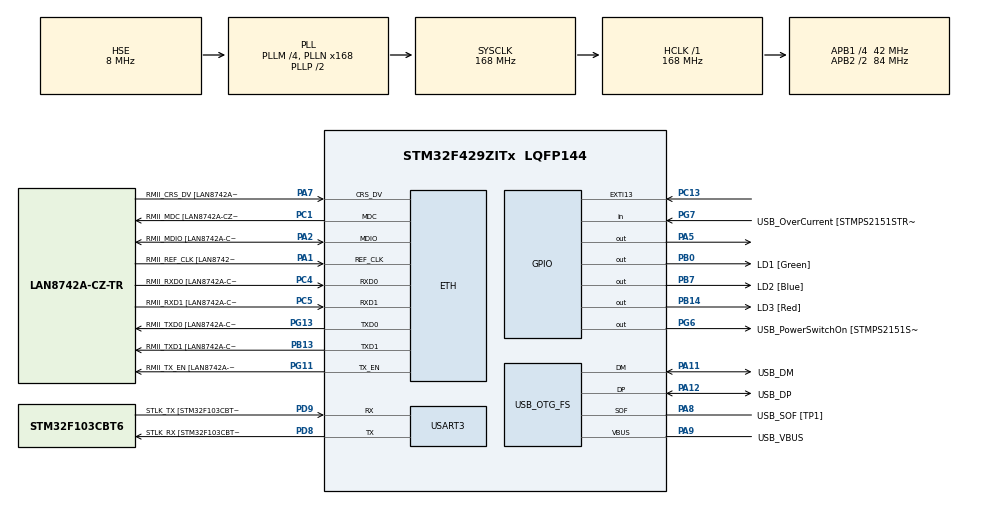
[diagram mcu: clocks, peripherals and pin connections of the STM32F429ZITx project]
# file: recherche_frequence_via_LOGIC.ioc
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Mcu.Family=STM32F4
RCC.CortexFreq_Value=168000000
PG6.Signal=GPIO_Output
PB14.GPIO_Label=LD3 [Red]
PG6.GPIO_Label=USB_PowerSwitchOn [STMPS2151STR_EN]
PA14.GPIO_Label=TCK
RCC.SYSCLKSourceVirtual=RCC_SYSCLKSOURCE_PLLCLK
PA11.Mode=Device_Only
PB0.GPIO_Label=LD1 [Green]
PC14/OSC32_IN.Mode=LSE-External-Oscillator
PC5.Mode=RMII
PB13.GPIO_Label=RMII_TXD1 [LAN8742A-CZ-TR_TXD1]
PB13.Signal=ETH_TXD1
PG13.Signal=ETH_TXD0
PD9.Mode=Asynchronous
PG11.Signal=ETH_TX_EN
RCC.SYSCLKSource=RCC_SYSCLKSOURCE_PLLCLK
ProjectManager.StackSize=0x400
VP_FREERTOS_VS_CMSIS_V2.Mode=CMSIS_V2
PA12.Signal=USB_OTG_FS_DP
ETH.PHY_Value=0
PH0/OSC_IN.Mode=HSE-External-Clock-Source
RCC.HCLKFreq_Value=168000000
RCC.APB2TimFreq_Value=168000000
PH1/OSC_OUT.Signal=RCC_OSC_OUT
PD8.Signal=USART3_TX
RCC.AHBFreq_Value=168000000
NVIC.EXTI15_10_IRQn=true\:5\:0\:false\:false\:true\:true\:true\:true
RCC.HSE_VALUE=8000000
RCC.PLLMUL=RCC_PLL_MUL9
PC4.GPIO_Label=RMII_RXD0 [LAN8742A-CZ-TR_RXD0]
PA14.Mode=Serial_Wire
VP_SYS_VS_tim1.Mode=TIM1
PA10.GPIO_Label=USB_ID
PB7.Signal=GPIO_Output
PA8.Signal=USB_OTG_FS_SOF
PG13.Mode=RMII
ETH.PHY_Name=LAN8742A_PHY_ADDRESS
PH1/OSC_OUT.Mode=HSE-External-Clock-Source
PB7.GPIO_Label=LD2 [Blue]
Mcu.Package=LQFP144
NVIC.TimeBase=TIM1_UP_TIM10_IRQn
PC14/OSC32_IN.Signal=RCC_OSC32_IN
PA2.GPIO_Label=RMII_MDIO [LAN8742A-CZ-TR_MDIO]
NVIC.TimeBaseIP=TIM1
PA10.Signal=USB_OTG_FS_ID
USB_OTG_FS.VirtualMode=Device_Only
RCC.APB2CLKDivider=RCC_HCLK_DIV2
RCC.APB1TimFreq_Value=84000000
PG11.GPIO_Label=RMII_TX_EN [LAN8742A-CZ-TR_TXEN]
PC5.Signal=ETH_RXD1
PB13.Mode=RMII
PC4.Mode=RMII
FREERTOS.Tasks01=defaultTask,24,128,StartDefaultTask,Default,NULL,Dynamic,NULL,NULL
PA7.Mode=RMII
PG7.Signal=GPIO_Input
PD9.GPIO_Label=STLK_TX [STM32F103CBT6_PA2]
PC13.Signal=GPXTI13
PA9.GPIO_Label=USB_VBUS
PC4.Signal=ETH_RXD0
PA11.GPIO_Label=USB_DM
PD9.Signal=USART3_RX
RCC.APB1CLKDivider=RCC_HCLK_DIV4
PG13.GPIO_Label=RMII_TXD0 [LAN8742A-CZ-TR_TXD0]
ETH.PhyAddress=0
PA12.GPIO_Label=USB_DP
PD8.GPIO_Label=STLK_RX [STM32F103CBT6_PA3]
PA13.Signal=SYS_JTMS-SWDIO
PA9.Mode=Activate_VBUS
PA8.GPIO_Label=USB_SOF [TP1]
ProjectManager.TargetToolchain=TrueSTUDIO
PA9.Signal=USB_OTG_FS_VBUS
RCC.USBFreq_Value=48000000
PD8.Mode=Asynchronous
PA1.Signal=ETH_REF_CLK
PB14.Signal=GPIO_Output
PA5.Signal=GPIO_Output
board=NUCLEO-F429ZI
RCC.VCOOutputFreq_Value=336000000
PH0/OSC_IN.Signal=RCC_OSC_IN
RCC.APB2Freq_Value=84000000
PA1.Mode=RMII
RCC.PRESCALERUSB=RCC_USBCLKSOURCE_PLL_DIV1_5
PG7.GPIO_Label=USB_OverCurrent [STMPS2151STR_FAULT]
PA1.GPIO_Label=RMII_REF_CLK [LAN8742A-CZ-TR_REFCLK0]
PC1.GPIO_Label=RMII_MDC [LAN8742A-CZ-TR_MDC]
PA13.Mode=Serial_Wire
Mcu.Name=STM32F429ZITx
PA2.Signal=ETH_MDIO
PA13.GPIO_Label=TMS
RCC.APB2TimCLKDivider=2
RCC.48MHZClocksFreq_Value=48000000
RCC.SYSCLKFreq_VALUE=168000000
ETH.MediaInterface=ETH_MEDIA_INTERFACE_RMII
PA7.GPIO_Label=RMII_CRS_DV [LAN8742A-CZ-TR_CRS_DV]
PA12.Mode=Device_Only
PC5.GPIO_Label=RMII_RXD1 [LAN8742A-CZ-TR_RXD1]
USART3.VirtualMode=VM_ASYNC
PC15/OSC32_OUT.Mode=LSE-External-Oscillator
PG11.Mode=RMII
PA11.Signal=USB_OTG_FS_DM
PA14.Signal=SYS_JTCK-SWCLK
ProjectManager.HeapSize=0x200
NVIC.TIM1_UP_TIM10_IRQn=true\:0\:0\:false\:false\:true\:false\:false\:true
RCC.HSI_VALUE=16000000
PH0/OSC_IN.GPIO_Label=MCO [STM32F103CBT6_PA8]
RCC.PLLQ=7
NVIC.PriorityGroup=NVIC_PRIORITYGROUP_4
RCC.PLLM=4
RCC.PLLN=168
PA2.Mode=RMII
PC15/OSC32_OUT.Signal=RCC_OSC32_OUT
PA8.Mode=Activate_SOF_FS
RCC.APB1Freq_Value=42000000
PB0.Signal=GPIO_Output
PC1.Signal=ETH_MDC
PC1.Mode=RMII
PA7.Signal=ETH_CRS_DV

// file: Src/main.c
/* USER CODE BEGIN Header */
/**
 ******************************************************************************
 * @file           : main.c
 * @brief          : Main program body
 ******************************************************************************
 * @attention
 *
 * <h2><center>&copy; Copyright (c) 2020 STMicroelectronics.
 * All rights reserved.</center></h2>
 *
 * This software component is licensed by ST under Ultimate Liberty license
 * SLA0044, the "License"; You may not use this file except in compliance with
 * the License. You may obtain a copy of the License at:
 *                             www.st.com/SLA0044
 *
 ******************************************************************************
 */
/* USER CODE END Header */

#include "main.h"
#include "cmsis_os.h"

ETH_HandleTypeDef heth;

UART_HandleTypeDef huart3;

PCD_HandleTypeDef hpcd_USB_OTG_FS;

/* Definitions for defaultTask */
osThreadId_t defaultTaskHandle;
const osThreadAttr_t defaultTask_attributes = {
		.name = "defaultTask",
		.priority = (osPriority_t) osPriorityNormal,
		.stack_size = 128 * 4
};
/* USER CODE BEGIN PV */
int btn_flag = 0;
int send_trame = 0;
int trame[1536];
/* USER CODE END PV */

void SystemClock_Config(void);
static void MX_GPIO_Init(void);
static void MX_ETH_Init(void);
static void MX_USART3_UART_Init(void);
static void MX_USB_OTG_FS_PCD_Init(void);
void StartDefaultTask(void *argument);

int main(void)
{

	/* MCU Configuration--------------------------------------------------------*/

	/* Reset of all peripherals, Initializes the Flash interface and the Systick. */
	HAL_Init();

	/* Configure the system clock */
	SystemClock_Config();

	/* Initialize all configured peripherals */
	MX_GPIO_Init();
	MX_ETH_Init();
	MX_USART3_UART_Init();
	MX_USB_OTG_FS_PCD_Init();

	/* Init scheduler */
	osKernelInitialize();

	/* Create the thread(s) */
	/* creation of defaultTask */
	defaultTaskHandle = osThreadNew(StartDefaultTask, NULL, &defaultTask_attributes);

	/* Start scheduler */
	osKernelStart();

	/* We should never get here as control is now taken by the scheduler */
	/* Infinite loop */
	while (1)
	{

	}
}

void SystemClock_Config(void)
{
	RCC_OscInitTypeDef RCC_OscInitStruct = {0};
	RCC_ClkInitTypeDef RCC_ClkInitStruct = {0};

	/** Configure the main internal regulator output voltage
	 */
	__HAL_RCC_PWR_CLK_ENABLE();
	__HAL_PWR_VOLTAGESCALING_CONFIG(PWR_REGULATOR_VOLTAGE_SCALE1);
	/** Initializes the CPU, AHB and APB busses clocks
	 */
	RCC_OscInitStruct.OscillatorType = RCC_OSCILLATORTYPE_HSE;
	RCC_OscInitStruct.HSEState = RCC_HSE_BYPASS;
	RCC_OscInitStruct.PLL.PLLState = RCC_PLL_ON;
	RCC_OscInitStruct.PLL.PLLSource = RCC_PLLSOURCE_HSE;
	RCC_OscInitStruct.PLL.PLLM = 4;
	RCC_OscInitStruct.PLL.PLLN = 168;
	RCC_OscInitStruct.PLL.PLLP = RCC_PLLP_DIV2;
	RCC_OscInitStruct.PLL.PLLQ = 7;
	if (HAL_RCC_OscConfig(&RCC_OscInitStruct) != HAL_OK)
	{
		Error_Handler();
	}
	/** Initializes the CPU, AHB and APB busses clocks
	 */
	RCC_ClkInitStruct.ClockType = RCC_CLOCKTYPE_HCLK|RCC_CLOCKTYPE_SYSCLK
			|RCC_CLOCKTYPE_PCLK1|RCC_CLOCKTYPE_PCLK2;
	RCC_ClkInitStruct.SYSCLKSource = RCC_SYSCLKSOURCE_PLLCLK;
	RCC_ClkInitStruct.AHBCLKDivider = RCC_SYSCLK_DIV1;
	RCC_ClkInitStruct.APB1CLKDivider = RCC_HCLK_DIV4;
	RCC_ClkInitStruct.APB2CLKDivider = RCC_HCLK_DIV2;

	if (HAL_RCC_ClockConfig(&RCC_ClkInitStruct, FLASH_LATENCY_5) != HAL_OK)
	{
		Error_Handler();
	}
}

static void MX_ETH_Init(void)
{

	heth.Instance = ETH;
	heth.Init.AutoNegotiation = ETH_AUTONEGOTIATION_ENABLE;
	heth.Init.PhyAddress = LAN8742A_PHY_ADDRESS;
	heth.Init.MACAddr[0] =   0x00;
	heth.Init.MACAddr[1] =   0x80;
	heth.Init.MACAddr[2] =   0xE1;
	heth.Init.MACAddr[3] =   0x00;
	heth.Init.MACAddr[4] =   0x00;
	heth.Init.MACAddr[5] =   0x00;
	heth.Init.RxMode = ETH_RXPOLLING_MODE;
	heth.Init.ChecksumMode = ETH_CHECKSUM_BY_HARDWARE;
	heth.Init.MediaInterface = ETH_MEDIA_INTERFACE_RMII;

	if (HAL_ETH_Init(&heth) != HAL_OK)
	{
		Error_Handler();
	}

}

static void MX_USART3_UART_Init(void)
{

	huart3.Instance = USART3;
	huart3.Init.BaudRate = 115200;
	huart3.Init.WordLength = UART_WORDLENGTH_8B;
	huart3.Init.StopBits = UART_STOPBITS_1;
	huart3.Init.Parity = UART_PARITY_NONE;
	huart3.Init.Mode = UART_MODE_TX_RX;
	huart3.Init.HwFlowCtl = UART_HWCONTROL_NONE;
	huart3.Init.OverSampling = UART_OVERSAMPLING_16;
	if (HAL_UART_Init(&huart3) != HAL_OK)
	{
		Error_Handler();
	}

}

static void MX_USB_OTG_FS_PCD_Init(void)
{

	hpcd_USB_OTG_FS.Instance = USB_OTG_FS;
	hpcd_USB_OTG_FS.Init.dev_endpoints = 4;
	hpcd_USB_OTG_FS.Init.speed = PCD_SPEED_FULL;
	hpcd_USB_OTG_FS.Init.dma_enable = DISABLE;
	hpcd_USB_OTG_FS.Init.phy_itface = PCD_PHY_EMBEDDED;
	hpcd_USB_OTG_FS.Init.Sof_enable = ENABLE;
	hpcd_USB_OTG_FS.Init.low_power_enable = DISABLE;
	hpcd_USB_OTG_FS.Init.lpm_enable = DISABLE;
	hpcd_USB_OTG_FS.Init.vbus_sensing_enable = ENABLE;
	hpcd_USB_OTG_FS.Init.use_dedicated_ep1 = DISABLE;
	if (HAL_PCD_Init(&hpcd_USB_OTG_FS) != HAL_OK)
	{
		Error_Handler();
	}

}

static void MX_GPIO_Init(void)
{
	GPIO_InitTypeDef GPIO_InitStruct = {0};

	/* GPIO Ports Clock Enable */
	__HAL_RCC_GPIOC_CLK_ENABLE();
	__HAL_RCC_GPIOH_CLK_ENABLE();
	__HAL_RCC_GPIOA_CLK_ENABLE();
	__HAL_RCC_GPIOB_CLK_ENABLE();
	__HAL_RCC_GPIOD_CLK_ENABLE();
	__HAL_RCC_GPIOG_CLK_ENABLE();

	/*Configure GPIO pin Output Level */
	HAL_GPIO_WritePin(GPIOA, GPIO_PIN_5, GPIO_PIN_RESET);

	/*Configure GPIO pin Output Level */
	HAL_GPIO_WritePin(GPIOB, LD1_Pin|LD3_Pin|LD2_Pin, GPIO_PIN_RESET);

	/*Configure GPIO pin Output Level */
	HAL_GPIO_WritePin(USB_PowerSwitchOn_GPIO_Port, USB_PowerSwitchOn_Pin, GPIO_PIN_RESET);

	/*Configure GPIO pin : PC13 */
	GPIO_InitStruct.Pin = GPIO_PIN_13;
	GPIO_InitStruct.Mode = GPIO_MODE_IT_RISING;
	GPIO_InitStruct.Pull = GPIO_NOPULL;
	HAL_GPIO_Init(GPIOC, &GPIO_InitStruct);

	/*Configure GPIO pin : PA5 */
	GPIO_InitStruct.Pin = GPIO_PIN_5;
	GPIO_InitStruct.Mode = GPIO_MODE_OUTPUT_PP;
	GPIO_InitStruct.Pull = GPIO_NOPULL;
	GPIO_InitStruct.Speed = GPIO_SPEED_FREQ_LOW;
	HAL_GPIO_Init(GPIOA, &GPIO_InitStruct);

	/*Configure GPIO pins : LD1_Pin LD3_Pin LD2_Pin */
	GPIO_InitStruct.Pin = LD1_Pin|LD3_Pin|LD2_Pin;
	GPIO_InitStruct.Mode = GPIO_MODE_OUTPUT_PP;
	GPIO_InitStruct.Pull = GPIO_NOPULL;
	GPIO_InitStruct.Speed = GPIO_SPEED_FREQ_LOW;
	HAL_GPIO_Init(GPIOB, &GPIO_InitStruct);

	/*Configure GPIO pin : USB_PowerSwitchOn_Pin */
	GPIO_InitStruct.Pin = USB_PowerSwitchOn_Pin;
	GPIO_InitStruct.Mode = GPIO_MODE_OUTPUT_PP;
	GPIO_InitStruct.Pull = GPIO_NOPULL;
	GPIO_InitStruct.Speed = GPIO_SPEED_FREQ_LOW;
	HAL_GPIO_Init(USB_PowerSwitchOn_GPIO_Port, &GPIO_InitStruct);

	/*Configure GPIO pin : USB_OverCurrent_Pin */
	GPIO_InitStruct.Pin = USB_OverCurrent_Pin;
	GPIO_InitStruct.Mode = GPIO_MODE_INPUT;
	GPIO_InitStruct.Pull = GPIO_NOPULL;
	HAL_GPIO_Init(USB_OverCurrent_GPIO_Port, &GPIO_InitStruct);

	/* EXTI interrupt init*/
	HAL_NVIC_SetPriority(EXTI15_10_IRQn, 5, 0);
	HAL_NVIC_EnableIRQ(EXTI15_10_IRQn);

}

/* USER CODE BEGIN 4 */
void HAL_GPIO_EXTI_Callback(uint16_t GPIO_Pin){
	if (GPIO_Pin == GPIO_PIN_13){
		btn_flag = 1;
	}
}
/* USER CODE END 4 */

void StartDefaultTask(void *argument)
{
	/* USER CODE BEGIN 5 */
	int i = 0, j = 0, k = 0;
	int intensity = 255;
	int dec_to_bin = 256;
	int trame_rgb[1536];
	/* Infinite loop */
	for(;;)
	{
//		HAL_Delay(500);
		intensity -= 50;
		if(intensity <= 0)
			intensity = 255;
		send_trame = 1;
		//		btn_flag = 0;
		for(i = 0; i < 1536; i ++){
			trame_rgb[i] = intensity;
		}
		for(i = 0; i < 1536; i ++){
			if(i % 8 == 0){
				dec_to_bin = 256;
				for(j = 0; j < 8; j++){
					if(trame_rgb[i + j] / (dec_to_bin/2) == 1){
						trame[i + j] = 1;
					} else {
						trame[i + j] = 0;
					}
				}
			}
		}

		if(send_trame == 1){
			for(k = 0; k < 1536; k++){
				int TOH = 2, TOL = 8, TIH = 8, TIL = 5;

				if(trame[k] == 0){
					HAL_GPIO_WritePin(GPIOA, GPIO_PIN_5, GPIO_PIN_SET);
					while(TOH --){}
					HAL_GPIO_WritePin(GPIOA, GPIO_PIN_5, GPIO_PIN_RESET);
					while(TOL --){}
				} else {
					HAL_GPIO_WritePin(GPIOA, GPIO_PIN_5, GPIO_PIN_SET);
					while(TIH --){}
					HAL_GPIO_WritePin(GPIOA, GPIO_PIN_5, GPIO_PIN_RESET);
					while(TIL --){}
				}
			} HAL_GPIO_WritePin(GPIOA, GPIO_PIN_5, GPIO_PIN_SET);
			HAL_GPIO_WritePin(GPIOA, GPIO_PIN_5, GPIO_PIN_RESET);
			osDelay(1);
			send_trame = 0;
		}
	}
	osDelay(1);
}
/* USER CODE END 5 */

void HAL_TIM_PeriodElapsedCallback(TIM_HandleTypeDef *htim)
{
	if (htim->Instance == TIM1) {
		HAL_IncTick();
	}
}

void Error_Handler(void)
{
}

/************************ (C) COPYRIGHT STMicroelectronics *****END OF FILE****/
